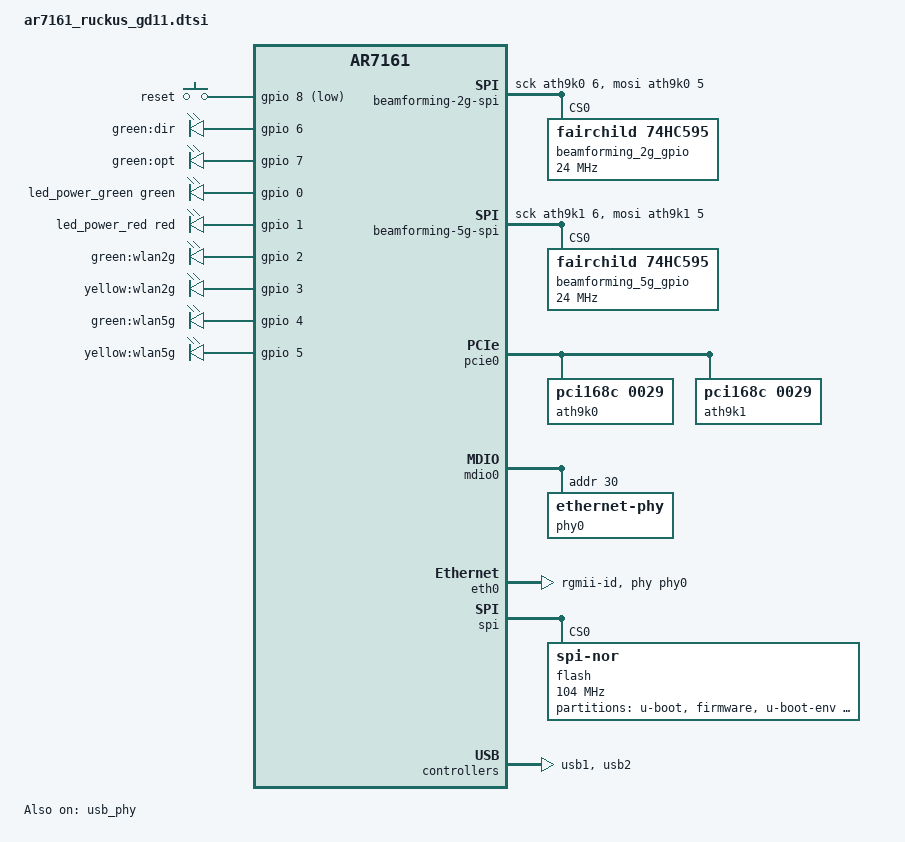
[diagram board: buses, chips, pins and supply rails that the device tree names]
// SPDX-License-Identifier: GPL-2.0-or-later OR MIT

#include "ar7100.dtsi"

#include <dt-bindings/gpio/gpio.h>
#include <dt-bindings/input/input.h>
#include <dt-bindings/leds/common.h>

/ {
	compatible = "ruckus,gd11", "qca,ar7161";

	aliases {
		led-boot = &led_power_green;
		led-failsafe = &led_power_red;
		led-running = &led_power_green;
		led-upgrade = &led_power_red;
		label-mac-device = &eth0;
	};

	keys: keys {
		compatible = "gpio-keys";

		reset {
			label = "reset";
			linux,code = <KEY_RESTART>;
			gpios = <&gpio 8 GPIO_ACTIVE_LOW>;
			debounce-interval = <60>;
		};
	};

	leds {
		compatible = "gpio-leds";
		dir-green {
			label = "green:dir";
			gpios = <&gpio 6 GPIO_ACTIVE_HIGH>;
		};

		opt-green {
			label = "green:opt";
			gpios = <&gpio 7 GPIO_ACTIVE_HIGH>;
		};

		led_power_green: power-green {
			function = LED_FUNCTION_POWER;
			color = <LED_COLOR_ID_GREEN>;
			gpios = <&gpio 0 GPIO_ACTIVE_HIGH>;
			default-state = "on";
		};

		led_power_red: power-red {
			function = LED_FUNCTION_POWER;
			color = <LED_COLOR_ID_RED>;
			gpios = <&gpio 1 GPIO_ACTIVE_HIGH>;
			panic-indicator;
		};

		wlan2g-green {
			label = "green:wlan2g";
			gpios = <&gpio 2 GPIO_ACTIVE_HIGH>;
			linux,default-trigger = "phy0assoc";
		};

		wlan2g-yellow {
			label = "yellow:wlan2g";
			gpios = <&gpio 3 GPIO_ACTIVE_HIGH>;
			linux,default-trigger = "phy0tpt";
		};

		wlan5g-green {
			label = "green:wlan5g";
			gpios = <&gpio 4 GPIO_ACTIVE_HIGH>;
			linux,default-trigger = "phy1assoc";
		};

		wlan5g-yellow {
			label = "yellow:wlan5g";
			gpios = <&gpio 5 GPIO_ACTIVE_HIGH>;
			linux,default-trigger = "phy1tpt";
		};
	};

	reserved-memory {
		#address-cells = <1>;
		#size-cells = <1>;
		ranges;

		ruckus-himem@3ff0000 {
			/* Ruckus Himem area used to control
			 * redundant boot image selection
			 */
			compatible = "nvmem-rmem";
			reg = <0x3ff0000 0x10000>;
			no-map;
		};
	};

	beamforming-2g-spi {
		compatible = "spi-gpio";
		mosi-gpios = <&ath9k0 5 GPIO_ACTIVE_HIGH>;
		sck-gpios = <&ath9k0 6 GPIO_ACTIVE_HIGH>;
		num-chipselects = <0>;
		#address-cells = <1>;
		#size-cells = <0>;

		beamforming_2g_gpio: beamforming-2g-gpio@0 {
			compatible = "fairchild,74hc595";
			reg = <0>;
			registers-number = <1>;
			spi-max-frequency = <24000000>;
			gpio-controller;
			#gpio-cells = <2>;
		};
	};

	beamforming-5g-spi {
		compatible = "spi-gpio";
		mosi-gpios = <&ath9k1 5 GPIO_ACTIVE_HIGH>;
		sck-gpios = <&ath9k1 6 GPIO_ACTIVE_HIGH>;
		num-chipselects = <0>;
		#address-cells = <1>;
		#size-cells = <0>;

		beamforming_5g_gpio: beamforming-5g-gpio@0 {
			compatible = "fairchild,74hc595";
			reg = <0>;
			registers-number = <1>;
			spi-max-frequency = <24000000>;
			gpio-controller;
			#gpio-cells = <2>;
		};
	};
};

&pcie0 {
	status = "okay";

	ath9k0: wifi@11,0 { /* 2.4 GHz */
		compatible = "pci168c,0029";
		reg = <0x8800 0 0 0 0>;
		nvmem-cells = <&macaddr_bdata_60>;
		nvmem-cell-names = "mac-address";
		#gpio-cells = <2>;
		gpio-controller;
	};

	ath9k1: wifi@12,0 { /* 5 GHz */
		compatible = "pci168c,0029";
		reg = <0x9000 0 0 0 0>;
		nvmem-cells = <&macaddr_bdata_76>;
		nvmem-cell-names = "mac-address";
		#gpio-cells = <2>;
		gpio-controller;
	};
};

&mdio0 {
	status = "okay";

	phy0: ethernet-phy@1e {
		reg = <0x1e>;
	};
};

&eth0 {
	status = "okay";
	nvmem-cells = <&macaddr_bdata_66>;
	nvmem-cell-names = "mac-address";

	pll-data = <0x00110000 0x00001099 0x00991099>;
	phy-handle = <&phy0>;
	phy-mode = "rgmii-id";
};

&spi {
	status = "okay";

	flash@0 {
		compatible = "jedec,spi-nor";
		reg = <0>;
		spi-max-frequency = <104000000>;
		m25p,fast-read;

		partitions {
			compatible = "fixed-partitions";
			#address-cells = <1>;
			#size-cells = <1>;

			partition@0 {
				reg = <0x0 0x40000>;
				label = "u-boot";
				read-only;
			};

			/* On stock FW this encompasses rcks_wlan.main,
			 * rcks_wlan.bkup and datafs partitions
			 */
			partition@40000 {
				compatible = "openwrt,uimage", "denx,uimage";
				reg = <0x40000 0xf40000>;
				label = "firmware";
			};

			partition@f80000 {
				compatible = "u-boot,env";
				reg = <0xf80000 0x40000>;
				label = "u-boot-env";
			};

			board_data: partition@fc0000 {
				reg = <0xfc0000 0x40000>;
				label = "board-data";
				read-only;
			};
		};
	};
};

&usb1 {
	status = "okay";
};

&usb2 {
	status = "okay";
};

&usb_phy {
	status = "okay";
};
